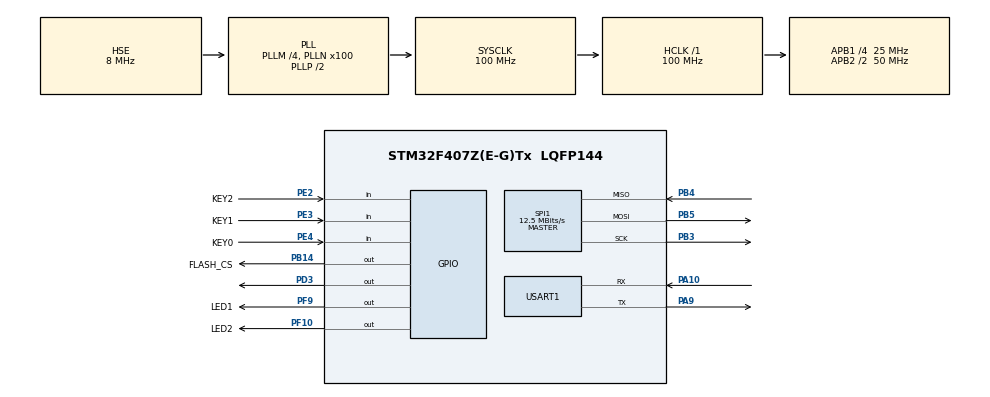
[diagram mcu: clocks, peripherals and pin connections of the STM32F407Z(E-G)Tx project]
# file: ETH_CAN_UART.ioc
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Mcu.Family=STM32F4
Mcu.Name=STM32F407Z(E-G)Tx
Mcu.Package=LQFP144
NVIC.PriorityGroup=NVIC_PRIORITYGROUP_4
NVIC.TIM1_UP_TIM10_IRQn=true\:15\:0\:false\:false\:true\:false\:true\:true
NVIC.TimeBase=TIM1_UP_TIM10_IRQn
NVIC.TimeBaseIP=TIM1
PA10.Mode=Asynchronous
PA10.Signal=USART1_RX
PA13.Mode=Serial_Wire
PA13.Signal=SYS_JTMS-SWDIO
PA14.Mode=Serial_Wire
PA14.Signal=SYS_JTCK-SWCLK
PA9.Mode=Asynchronous
PA9.Signal=USART1_TX
PB14.GPIO_Label=FLASH_CS
PB14.PinState=GPIO_PIN_SET
PB14.Signal=GPIO_Output
PB3.Mode=Full_Duplex_Master
PB3.Signal=SPI1_SCK
PB4.Mode=Full_Duplex_Master
PB4.Signal=SPI1_MISO
PB5.Mode=Full_Duplex_Master
PB5.Signal=SPI1_MOSI
PC14-OSC32_IN.Mode=LSE-External-Oscillator
PC14-OSC32_IN.Signal=RCC_OSC32_IN
PC15-OSC32_OUT.Mode=LSE-External-Oscillator
PC15-OSC32_OUT.Signal=RCC_OSC32_OUT
PD3.PinState=GPIO_PIN_SET
PD3.Signal=GPIO_Output
PE2.GPIO_Label=KEY2
PE2.GPIO_PuPd=GPIO_PULLUP
PE2.Signal=GPIO_Input
PE3.GPIO_Label=KEY1
PE3.GPIO_PuPd=GPIO_PULLUP
PE3.Signal=GPIO_Input
PE4.GPIO_Label=KEY0
PE4.GPIO_PuPd=GPIO_PULLUP
PE4.Signal=GPIO_Input
PF10.GPIO_Label=LED2
PF10.GPIO_PuPd=GPIO_PULLUP
PF10.Signal=GPIO_Output
PF9.GPIO_Label=LED1
PF9.GPIO_PuPd=GPIO_PULLUP
PF9.Signal=GPIO_Output
PH0-OSC_IN.Mode=HSE-External-Oscillator
PH0-OSC_IN.Signal=RCC_OSC_IN
PH1-OSC_OUT.Mode=HSE-External-Oscillator
PH1-OSC_OUT.Signal=RCC_OSC_OUT
ProjectManager.HeapSize=0x200
ProjectManager.StackSize=0x400
ProjectManager.TargetToolchain=MDK-ARM V5.32
RCC.48MHZClocksFreq_Value=50000000
RCC.AHBFreq_Value=100000000
RCC.APB1CLKDivider=RCC_HCLK_DIV4
RCC.APB1Freq_Value=25000000
RCC.APB1TimFreq_Value=50000000
RCC.APB2CLKDivider=RCC_HCLK_DIV2
RCC.APB2Freq_Value=50000000
RCC.APB2TimFreq_Value=100000000
RCC.CortexFreq_Value=100000000
RCC.HCLKFreq_Value=100000000
RCC.HSE_VALUE=8000000
RCC.HSI_VALUE=16000000
RCC.PLLM=4
RCC.PLLN=100
RCC.PLLSourceVirtual=RCC_PLLSOURCE_HSE
RCC.SYSCLKFreq_VALUE=100000000
RCC.SYSCLKSource=RCC_SYSCLKSOURCE_PLLCLK
RCC.VCOOutputFreq_Value=200000000
SPI1.BaudRatePrescaler=SPI_BAUDRATEPRESCALER_4
SPI1.CalculateBaudRate=12.5 MBits/s
SPI1.Direction=SPI_DIRECTION_2LINES
SPI1.Mode=SPI_MODE_MASTER
SPI1.VirtualType=VM_MASTER
USART1.VirtualMode=VM_ASYNC
VP_CRC_VS_CRC.Mode=CRC_Activate
VP_SYS_VS_tim1.Mode=TIM1
board=custom

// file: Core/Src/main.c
/* USER CODE BEGIN Header */
/**
  ******************************************************************************
  * @file           : main.c
  * @brief          : Main program body
  ******************************************************************************
  * @attention
  *
  * Copyright (c) 2026 STMicroelectronics.
  * All rights reserved.
  *
  * This software is licensed under terms that can be found in the LICENSE file
  * in the root directory of this software component.
  * If no LICENSE file comes with this software, it is provided AS-IS.
  *
  ******************************************************************************
  */
/* USER CODE END Header */
#include "main.h"
#include "crc.h"
#include "spi.h"
#include "usart.h"
#include "gpio.h"

/* USER CODE BEGIN Includes */
#include <stdio.h>
#include <stdarg.h>
#include "restart.h"
#include "boot_param.h"
#include "boot_recover.h"
/* USER CODE END Includes */

void SystemClock_Config(void);

/* USER CODE BEGIN 0 */
/* printf 重定向到 USART1。注意：必须关闭 semihosting（Keil 勾选 Use MicroLIB，
   或在工程中加入 #pragma import(__use_no_semihosting)），否则程序会卡在半主机调用。 */
int fputc(int ch, FILE *f)
{
    HAL_UART_Transmit(&huart1, (uint8_t*)&ch,1,5);
    return ch;
}

/**
 * @brief 喂狗钩子实现：固件校验/Flash拷贝等长循环会自动调用到这里
 * @note  若 Bootloader 开启了独立看门狗，取消下面一行注释即可
 */
void boot_wdg_refresh(void)
{
    /* HAL_IWDG_Refresh(&hiwdg); */
}

/**
 * @brief 跳转兜底：jump_to_app 成功时不会返回，返回说明目标镜像非法。
 *        旧代码直接忽略返回值，跳转失败后程序会继续往下跑，状态机错乱。
 */
static void boot_jump_or_halt(uint8_t idx)
{
    if(jump_to_app(idx) != 0)
    {
        printf("Boot: jump to %s failed, halt\r\n", (idx == 0U) ? "A" : "B");
    }
    while(1)
    {
        /* 跳转失败，停在这里等看门狗或人工干预 */
    }
}
/* USER CODE END 0 */

int main(void)
{

  /* MCU Configuration--------------------------------------------------------*/

  /* Reset of all peripherals, Initializes the Flash interface and the Systick. */
  HAL_Init();

  /* Configure the system clock */
  SystemClock_Config();

  /* Initialize all configured peripherals */
  MX_GPIO_Init();
  MX_USART1_UART_Init();
  MX_SPI1_Init();
  MX_CRC_Init();
  /* USER CODE BEGIN 2 */
  if(W25Q_Init() != 0)
  {
      printf("Boot: WARN W25Q128 not present, update & para unavailable\r\n");
  }
  printf("\r\n==== Bootloader Start ====\r\n");

  BootPara_t para;
  // 读取W25Q双备份参数，双份损坏自动返回安全默认IDLE参数
  // 必须检查返回值：两份都损坏时 fw_len=0，后续不能拿它去做CRC校验
  if(boot_read_double_para(&para) != 0)
  {
      printf("Boot: both para copies invalid, use safe default(IDLE)\r\n");
  }

  /************************* 【升级分支】检测待升级标记 *************************/
  //标志位提示升级：SPI flash固件CRC校验 -> 擦除B区 -> 写B区 -> 芯片flash固件CRC校验 ->成功跳转B区，失败跳转A区
  if(para.flag == BOOT_FLAG_UPDATE_READY)
  {
      printf("Boot: detect UPDATE_READY flag, start firmware update\r\n");

      //----------① 先判长度合法性，再校验W25Q缓存中待升级固件CRC32 ----------
      // fw_len 必须非0、4字节对齐、不超过B区容量；否则CRC接口一律返回0，
      // 而0同时又是"输入非法"的返回值，旧代码用 (crc == 0) 判错存在歧义。
      if(boot_len_is_valid(para.fw_len, APP_B_SIZE) == 0)
      {
          printf("Boot: invalid fw_len=%lu! rollback to A(Golden)\r\n",
                 (unsigned long)para.fw_len);
          para.flag = BOOT_FLAG_IDLE;
          (void)boot_write_double_para(&para);
          boot_jump_or_halt(0);
      }

      uint32_t calc_w25q_crc = calc_w25q_fw_crc(W25Q_FW_BUF_ADDR, para.fw_len);

      // 长度已在上一步确认合法，这里只比较CRC值本身
      if(calc_w25q_crc != para.fw_crc32)
      {
          printf("Boot: W25Q firmware crc mismatch! rollback to A(Golden)\r\n");
          para.flag = BOOT_FLAG_IDLE;
          (void)boot_write_double_para(&para);
          boot_jump_or_halt(0);   // 直接回滚A区防砖镜像
      }

      //----------② 擦除B区镜像：S6 + S7 两个扇区全部擦除（用宏，避免硬编码地址） ----------
      int ret_erase1 = boot_flash_erase_safe(RUN_B_SECTOR1_ADDR);
      int ret_erase2 = boot_flash_erase_safe(RUN_B_SECTOR2_ADDR);
      if(ret_erase1 != 0 || ret_erase2 != 0)
      {
          printf("Boot: erase B area fail! e1=%d e2=%d, rollback to A\r\n",
                 ret_erase1, ret_erase2);
          para.flag = BOOT_FLAG_IDLE;
          (void)boot_write_double_para(&para);
          boot_jump_or_halt(0);
      }

      //----------③ 将W25Q固件拷贝写入片内B区 RUN_B_ADDR ----------
      int copy_ret = boot_copy_w25q_to_internal_flash(W25Q_FW_BUF_ADDR, RUN_B_ADDR, para.fw_len);
      if(copy_ret != 0)
      {
          printf("Boot: copy firmware to internal flash fail, ret=%d\r\n", copy_ret);
          para.flag = BOOT_FLAG_IDLE;
          (void)boot_write_double_para(&para);
          boot_jump_or_halt(0);
      }

      //----------④ 升级完成：计算B区实际固件CRC，更新参数，清除升级标记 ----------
      // 注意：使用实际固件长度para.fw_len，而非整个分区大小APP_B_SIZE
      uint32_t new_b_crc = boot_calc_flash_crc(RUN_B_ADDR, para.fw_len);
      if(new_b_crc == 0U)
      {
          printf("Boot: calc B crc fail\r\n");
          para.flag = BOOT_FLAG_IDLE;
          (void)boot_write_double_para(&para);
          boot_jump_or_halt(0);
      }

      para.appB_crc = new_b_crc;
      para.flag = BOOT_FLAG_IDLE;
      if(boot_write_double_para(&para) != 0)
      {
          // 写参数读回校验失败：只告警不中断，B区镜像已经写入成功
          printf("Boot: WARN para write verify fail\r\n");
      }
      printf("Boot: firmware update complete\r\n");
  }

  /*************************【正常启动分支：优先启动B-Run镜像】*************************/
  uint8_t b_image_ok = 0;

  // 前置条件：fw_len 必须合法。
  // 否则 boot_calc_flash_crc(RUN_B_ADDR, 0) 返回0，而默认参数的 appB_crc 也是0，
  // 0 == 0 会判定"校验通过"直接跳B——两份参数全损坏时反而最宽松，属于失败开放。
  if(boot_len_is_valid(para.fw_len, APP_B_SIZE) != 0)
  {
      // 第一步：MSP栈指针基础校验
      if(boot_check_msp_valid(RUN_B_ADDR))
      {
          // 第二步：完整固件CRC32校验
          uint32_t b_crc_now = boot_calc_flash_crc(RUN_B_ADDR, para.fw_len);
          if((b_crc_now != 0U) && (b_crc_now == para.appB_crc))
          {
              b_image_ok = 1;
          }
      }
  }

  if(b_image_ok)
  {
      printf("Boot: jump to B(Run App)\r\n");
      boot_jump_or_halt(1);
  }
  else
  {
      printf("Boot: B image invalid, try golden A\r\n");
      /* B区校验失败，回滚尝试A-Golden防砖镜像 */
      if(boot_check_msp_valid(GOLDEN_A_ADDR))
      {
          // 量产建议：此处增加A区完整CRC32校验，A区CRC可出厂预置宏定义
          printf("Boot: jump to A(Golden App)\r\n");
          boot_jump_or_halt(0);
      }
      else
      {
          /* A、B镜像全部损坏：进入串口救砖，等待上位机下发固件 */
          printf("Boot: A & B both invalid! enter uart recovery\r\n");
          while(boot_recover_uart() != 0)
          {
              printf("Boot: recovery failed, retry in 1s...\r\n");
              HAL_Delay(1000U);
          }
          /* boot_recover_uart() 成功后会自行软复位，不会返回0，这里只是保险 */
          while(1)
          {
          }
      }
  }
  /* USER CODE END 2 */

  /* Infinite loop */
  while (1)
  {

  }
}

void SystemClock_Config(void)
{
  RCC_OscInitTypeDef RCC_OscInitStruct = {0};
  RCC_ClkInitTypeDef RCC_ClkInitStruct = {0};

  /** Configure the main internal regulator output voltage
  */
  __HAL_RCC_PWR_CLK_ENABLE();
  __HAL_PWR_VOLTAGESCALING_CONFIG(PWR_REGULATOR_VOLTAGE_SCALE1);

  /** Initializes the RCC Oscillators according to the specified parameters
  * in the RCC_OscInitTypeDef structure.
  */
  RCC_OscInitStruct.OscillatorType = RCC_OSCILLATORTYPE_HSE;
  RCC_OscInitStruct.HSEState = RCC_HSE_ON;
  RCC_OscInitStruct.PLL.PLLState = RCC_PLL_ON;
  RCC_OscInitStruct.PLL.PLLSource = RCC_PLLSOURCE_HSE;
  RCC_OscInitStruct.PLL.PLLM = 4;
  RCC_OscInitStruct.PLL.PLLN = 100;
  RCC_OscInitStruct.PLL.PLLP = RCC_PLLP_DIV2;
  RCC_OscInitStruct.PLL.PLLQ = 4;
  if (HAL_RCC_OscConfig(&RCC_OscInitStruct) != HAL_OK)
  {
    Error_Handler();
  }

  /** Initializes the CPU, AHB and APB buses clocks
  */
  RCC_ClkInitStruct.ClockType = RCC_CLOCKTYPE_HCLK|RCC_CLOCKTYPE_SYSCLK
                              |RCC_CLOCKTYPE_PCLK1|RCC_CLOCKTYPE_PCLK2;
  RCC_ClkInitStruct.SYSCLKSource = RCC_SYSCLKSOURCE_PLLCLK;
  RCC_ClkInitStruct.AHBCLKDivider = RCC_SYSCLK_DIV1;
  RCC_ClkInitStruct.APB1CLKDivider = RCC_HCLK_DIV4;
  RCC_ClkInitStruct.APB2CLKDivider = RCC_HCLK_DIV2;

  if (HAL_RCC_ClockConfig(&RCC_ClkInitStruct, FLASH_LATENCY_3) != HAL_OK)
  {
    Error_Handler();
  }
}

void HAL_TIM_PeriodElapsedCallback(TIM_HandleTypeDef *htim)
{
  if (htim->Instance == TIM1)
  {
    HAL_IncTick();
  }
}

void Error_Handler(void)
{
  __disable_irq();
  while (1)
  {
  }
}
